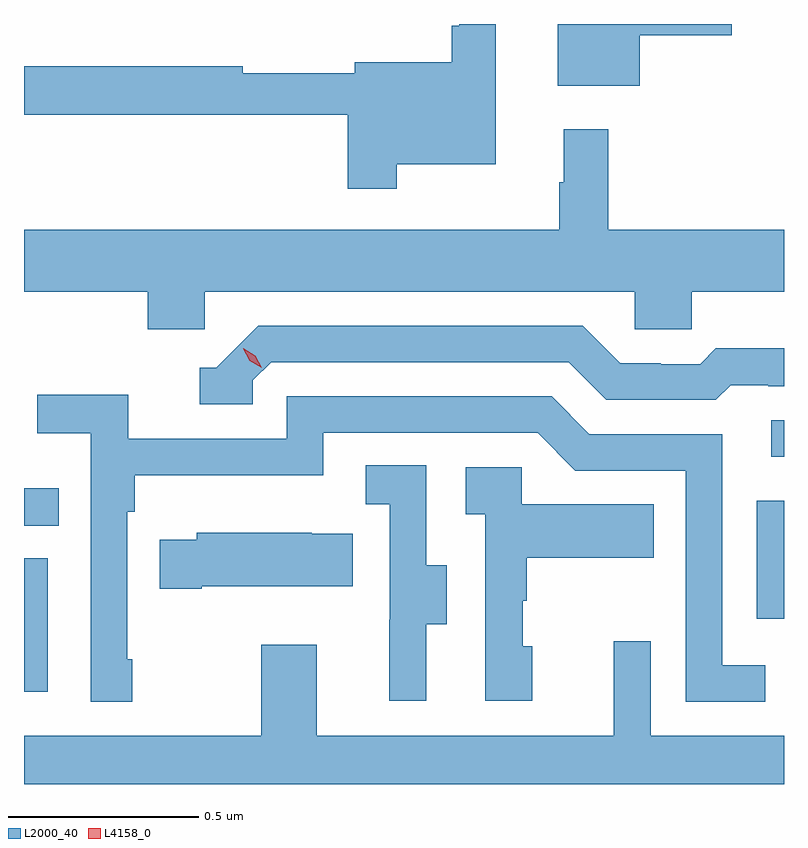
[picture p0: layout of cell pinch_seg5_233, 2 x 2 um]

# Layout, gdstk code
import gdstk
lib = gdstk.Library(unit=1e-6, precision=1e-09)
def R(c, l, rs):  # rectangles x0, y0, x1, y1
    for r in rs: c.add(gdstk.rectangle(r[:2], r[2:], *l))
def P(c, l, *ps):  # polygons
    for p in ps: c.add(gdstk.Polygon(p, *l))
L2000_40 = (2000, 40)
L4158_0 = (4158, 0)

pinch_seg5_233 = lib.new_cell('pinch_seg5_233')
R(pinch_seg5_233, L2000_40, [(975.946,899.664,976.009,900.015), (977.874,899.856,977.946,900.166), (975.946,900.1,976.037,900.199), (977.913,900.282,977.946,900.378)])
P(pinch_seg5_233, L2000_40, [(977.566,901.391),(977.809,901.391),(977.809,901.421),(977.351,901.421),(977.351,901.259),(977.566,901.259)],
  [(976.927,901.052),(977.188,901.052),(977.188,901.421),(977.091,901.421),(977.091,901.417),(977.071,901.417),(977.071,901.321),(976.817,901.321),(976.817,901.291),(976.521,901.291),(976.521,901.31),(975.946,901.31),(975.946,901.182),(976.798,901.182),(976.798,900.987),(976.927,900.987)],
  [(976.422,900.716),(977.553,900.716),(977.553,900.618),(977.703,900.618),(977.703,900.716),(977.946,900.716),(977.946,900.88),(977.483,900.88),(977.483,901.144),(977.366,901.144),(977.366,901.004),(977.355,901.004),(977.355,900.88),(975.946,900.88),(975.946,900.716),(976.271,900.716),(976.271,900.618),(976.422,900.618)],
  [(976.548,900.483),(976.596,900.531),(977.379,900.531),(977.478,900.432),(977.767,900.432),(977.806,900.471),(977.905,900.471),(977.905,900.468),(977.946,900.468),(977.946,900.568),(977.767,900.568),(977.725,900.525),(977.622,900.525),(977.622,900.528),(977.515,900.528),(977.416,900.627),(976.563,900.627),(976.452,900.516),(976.409,900.516),(976.409,900.42),(976.548,900.42)],
  [(976.231,899.749),(976.218,899.749),(976.218,900.137),(976.238,900.137),(976.238,900.233),(976.734,900.233),(976.734,900.345),(977.298,900.345),(977.397,900.246),(977.688,900.246),(977.688,899.637),(977.897,899.637),(977.897,899.733),(977.784,899.733),(977.784,900.342),(977.434,900.342),(977.335,900.441),(976.638,900.441),(976.638,900.33),(976.22,900.33),(976.22,900.446),(975.981,900.446),(975.981,900.344),(976.122,900.344),(976.122,899.637),(976.231,899.637)],
  [(977.005,899.842),(977.059,899.842),(977.059,899.997),(977.004,899.997),(977.004,900.26),(976.845,900.26),(976.845,900.157),(976.908,900.157),(976.908,899.853),(976.907,899.853),(976.907,899.64),(977.005,899.64)],
  [(977.284,899.784),(977.259,899.784),(977.259,899.903),(977.269,899.903),(977.269,900.017),(977.603,900.017),(977.603,900.157),(977.256,900.157),(977.256,900.255),(977.109,900.255),(977.109,900.131),(977.16,900.131),(977.16,899.64),(977.284,899.64)],
  [(976.414,899.942),(976.811,899.942),(976.811,900.079),(976.703,900.079),(976.703,900.082),(976.401,900.082),(976.401,900.064),(976.303,900.064),(976.303,899.935),(976.414,899.935)],
  [(977.946,899.548),(977.595,899.548),(977.595,899.797),(977.498,899.797),(977.498,899.548),(976.717,899.548),(976.717,899.788),(976.57,899.788),(976.57,899.548),(975.946,899.548),(975.946,899.421),(977.946,899.421)])
P(pinch_seg5_233, L4158_0, [(976.571,900.516),(976.54,900.535),(976.523,900.567),(976.523,900.568),(976.523,900.568),(976.554,900.548),(976.571,900.516),(976.571,900.516)])

lib.write_gds('pinch_seg5_233.gds')
